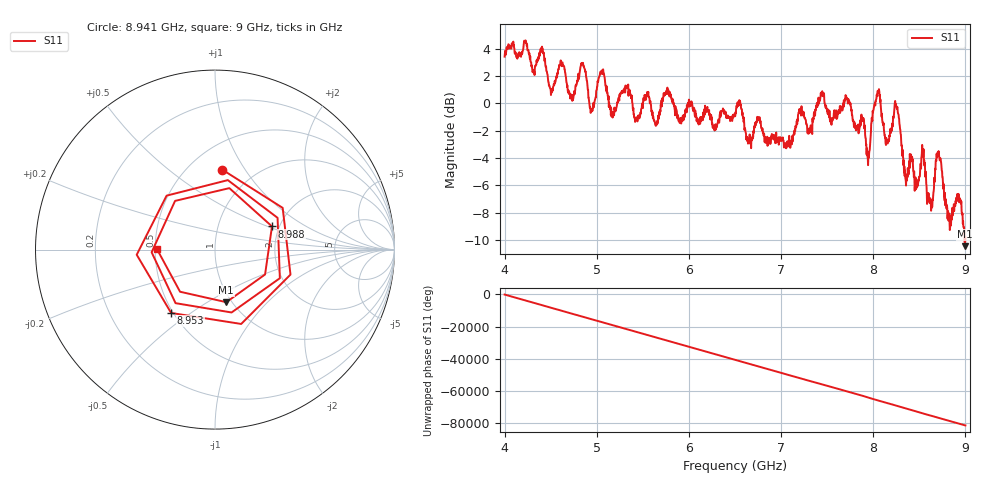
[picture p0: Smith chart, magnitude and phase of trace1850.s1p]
! Created with skrf 1.8.0 (http://scikit-rf.org).
# Hz S RI R 50.0
!freq ReS11 ImS11
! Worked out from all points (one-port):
!   1601 points, 4 GHz to 9 GHz, reference 50 ohm
!   lowest |S11| = -10.5 dB at 8.994 GHz (marker M1), VSWR 1.86, Z = 47.2 - j30.4 ohm
!   |S11| at or under -10 dB: 8.990526 GHz to 8.998879 GHz (8.352 MHz wide, 0.0929 % of centre)
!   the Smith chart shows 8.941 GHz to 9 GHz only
!   S11 on the Smith chart (normalised r, x): 8.941 GHz: 0.72, +0.80; 8.953 GHz: 0.49, -0.42; 8.988 GHz: 1.83, +0.54; 9 GHz: 0.51, +0.00
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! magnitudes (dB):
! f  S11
! 4 GHz  3.4
! 4.506 GHz  0.9
! 4.625 GHz  3.0
! 4.728 GHz  0.4
! 4.853 GHz  2.8
! 4.944 GHz  -0.6
! 5.053 GHz  2.3
! 5.162 GHz  -0.9
! 5.25 GHz  0.5
! 5.875 GHz  -1.1
! 6.5 GHz  -0.9
! 7.125 GHz  -2.8
! 7.441 GHz  0.8
! 7.75 GHz  -0.1
! 7.944 GHz  -4.5
! 8.047 GHz  0.9
! 8.147 GHz  -2.9
! 8.253 GHz  -0.2
! 8.375 GHz  -4.7
! 8.538 GHz  -3.4
! 8.628 GHz  -7.9
! 8.712 GHz  -3.7
! 8.828 GHz  -8.7
! 8.941 GHz  -7.0
! 8.953 GHz  -7.3
! 8.988 GHz  -9.3
! 8.994 GHz  -10.5
! 9 GHz  -9.8
